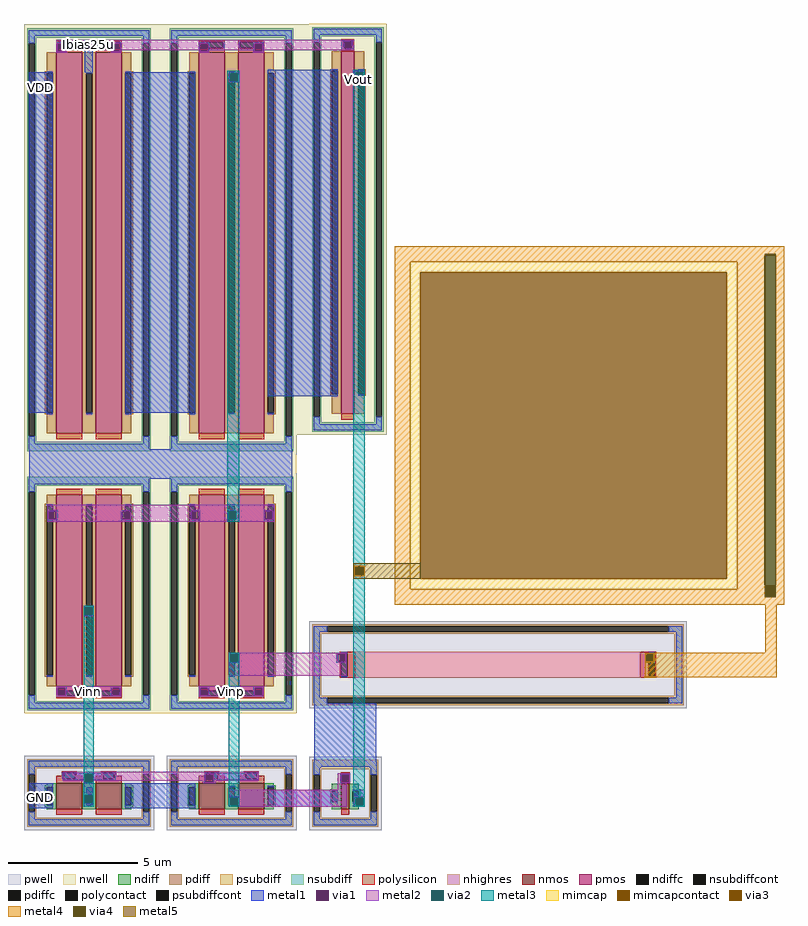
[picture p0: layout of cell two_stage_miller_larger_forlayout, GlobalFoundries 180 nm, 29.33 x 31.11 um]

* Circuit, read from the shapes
.subckt two_stage_miller_larger_forlayout Vout Vinn Vinp Ibias25u VDD GND
XM1 n1 n1 GND GND nfet_03v3 w=1u l=1u m=2
XM2 n2 n1 GND GND nfet_03v3 w=1u l=1u m=2
XM3 Vout n2 GND GND nfet_03v3 w=0.97u l=0.3u
XM4 n1 Vinn n3 VDD pfet_03v3 w=7.4u l=1u m=2
XM5 Ibias25u Ibias25u VDD VDD pfet_03v3 w=14.7u l=1u m=2
XM6 n2 Vinp n3 VDD pfet_03v3 w=7.4u l=1u m=2
XM7 n3 Ibias25u VDD VDD pfet_03v3 w=14.7u l=1u m=2
XM8 Vout Ibias25u VDD VDD pfet_03v3 w=14u l=0.5u
XC9 Vout n4 cap_mim_2f0fF c_width=12.63u c_length=12.63u
XR10 n4 n2 GND ppolyf_u_1k r_width=1u r_length=11u
.ends

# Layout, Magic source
magic
tech gf180mcuD
magscale 1 10
<< nwell >>
rect -2000 8270 200 8320
rect -1000 5000 -900 8270
rect 100 5150 200 8270
rect -2000 4800 100 5000
rect -1000 3000 -900 4800
<< metal1 >>
rect -1750 8170 -1670 8180
rect -1330 8170 -1250 8180
rect -1750 8110 -1740 8170
rect -1680 8160 -1670 8170
rect -1560 8160 -1440 8170
rect -1330 8160 -1320 8170
rect -1680 8120 -1320 8160
rect -1680 8110 -1670 8120
rect -1750 8100 -1670 8110
rect -1530 7950 -1470 8120
rect -1330 8110 -1320 8120
rect -1260 8110 -1250 8170
rect -1330 8100 -1250 8110
rect -650 8170 -570 8180
rect -650 8110 -640 8170
rect -580 8110 -570 8170
rect -650 8100 -570 8110
rect -230 8170 -150 8180
rect -230 8110 -220 8170
rect -160 8110 -150 8170
rect 450 8130 470 8190
rect 530 8130 550 8190
rect -230 8100 -150 8110
rect -1960 5320 -1780 7950
rect -1220 5320 -680 7950
rect -420 7940 -340 7950
rect -420 7880 -410 7940
rect -350 7880 -340 7940
rect -420 7870 -340 7880
rect -120 5450 420 7970
rect 550 7950 620 7960
rect 550 7890 560 7950
rect 550 7880 620 7890
rect -1960 4810 70 5040
rect -1810 4560 -1740 4570
rect -1750 4500 -1740 4560
rect -1810 4490 -1740 4500
rect -1250 4560 -1180 4570
rect -1250 4500 -1240 4560
rect -1250 4490 -1180 4500
rect -710 4560 -640 4570
rect -650 4500 -640 4560
rect -710 4490 -640 4500
rect -150 4560 -80 4570
rect -150 4500 -140 4560
rect -150 4490 -80 4500
rect -1540 3820 -1460 3830
rect -1540 3760 -1530 3820
rect -1470 3760 -1460 3820
rect -1540 3750 -1460 3760
rect -420 3460 -340 3470
rect -420 3400 -410 3460
rect -350 3400 -340 3460
rect -420 3390 -340 3400
rect 410 3460 490 3470
rect 410 3400 420 3460
rect 480 3400 490 3460
rect 410 3390 490 3400
rect 2790 3460 2870 3470
rect 2790 3400 2800 3460
rect 2860 3400 2870 3460
rect 2790 3390 2870 3400
rect 50 3220 60 3250
rect -1750 3200 -1670 3210
rect -1750 3140 -1740 3200
rect -1680 3140 -1670 3200
rect -1750 3130 -1670 3140
rect -1330 3200 -1250 3210
rect -1330 3140 -1320 3200
rect -1260 3140 -1250 3200
rect -1330 3130 -1250 3140
rect -650 3200 -570 3210
rect -650 3140 -640 3200
rect -580 3140 -570 3200
rect -650 3130 -570 3140
rect -230 3200 -150 3210
rect -230 3140 -220 3200
rect -160 3140 -150 3200
rect -230 3130 -150 3140
rect 240 2630 720 3080
rect -1700 2530 -1290 2540
rect -1700 2490 -1530 2530
rect -1540 2470 -1530 2490
rect -1470 2490 -1290 2530
rect -610 2530 -190 2540
rect -1470 2470 -1460 2490
rect -1960 2270 -1780 2460
rect -1540 2370 -1460 2470
rect -610 2470 -600 2530
rect -540 2490 -190 2530
rect 440 2530 520 2540
rect -540 2470 -530 2490
rect -610 2460 -530 2470
rect 440 2470 450 2530
rect 510 2470 520 2530
rect 440 2460 520 2470
rect -1540 2310 -1530 2370
rect -1470 2310 -1460 2370
rect -1540 2280 -1460 2310
rect -1220 2270 -680 2460
rect -420 2350 -340 2360
rect -420 2290 -410 2350
rect -350 2290 -340 2350
rect -420 2280 -340 2290
rect -110 2280 420 2410
rect 540 2350 630 2410
rect 540 2290 560 2350
rect 620 2290 630 2350
rect 540 2280 630 2290
<< via1 >>
rect -1740 8110 -1680 8170
rect -1320 8110 -1260 8170
rect -640 8110 -580 8170
rect -220 8110 -160 8170
rect 470 8130 530 8190
rect -410 7880 -350 7940
rect 560 7890 620 7950
rect -1810 4500 -1750 4560
rect -1240 4500 -1180 4560
rect -710 4500 -650 4560
rect -140 4500 -80 4560
rect -1530 3760 -1470 3820
rect -410 3400 -350 3460
rect 420 3400 480 3460
rect 2800 3400 2860 3460
rect -1740 3140 -1680 3200
rect -1320 3140 -1260 3200
rect -640 3140 -580 3200
rect -220 3140 -160 3200
rect -1530 2470 -1470 2530
rect -600 2470 -540 2530
rect 450 2470 510 2530
rect -1530 2310 -1470 2370
rect -410 2290 -350 2350
rect 560 2290 620 2350
<< metal2 >>
rect -1750 8190 550 8200
rect -1750 8170 470 8190
rect -1750 8110 -1740 8170
rect -1680 8120 -1320 8170
rect -1680 8110 -1670 8120
rect -1750 8100 -1670 8110
rect -1330 8110 -1320 8120
rect -1260 8120 -640 8170
rect -1260 8110 -1250 8120
rect -1330 8100 -1250 8110
rect -650 8110 -640 8120
rect -580 8120 -220 8170
rect -580 8110 -570 8120
rect -650 8100 -570 8110
rect -230 8110 -220 8120
rect -160 8130 470 8170
rect 530 8130 550 8190
rect -160 8120 550 8130
rect -160 8110 -150 8120
rect -230 8100 -150 8110
rect 550 7950 630 7960
rect -420 7940 -340 7950
rect -420 7880 -410 7940
rect -350 7880 -340 7940
rect 550 7890 560 7950
rect 620 7890 630 7950
rect 550 7880 630 7890
rect -420 7870 -340 7880
rect -1820 4560 -70 4610
rect -1820 4500 -1810 4560
rect -1750 4500 -1240 4560
rect -1180 4500 -710 4560
rect -650 4500 -420 4560
rect -360 4500 -140 4560
rect -80 4500 -70 4560
rect -1820 4480 -70 4500
rect -1540 3820 -1460 3830
rect -1540 3760 -1530 3820
rect -1470 3760 -1460 3820
rect -1540 3750 -1460 3760
rect -420 3460 490 3470
rect -420 3400 -410 3460
rect -350 3400 420 3460
rect 480 3400 490 3460
rect -420 3290 490 3400
rect 2790 3460 2870 3470
rect 2790 3400 2800 3460
rect 2860 3400 2870 3460
rect 2790 3390 2870 3400
rect -1750 3200 -1250 3210
rect -1750 3140 -1740 3200
rect -1680 3140 -1320 3200
rect -1260 3140 -1250 3200
rect -1750 3130 -1250 3140
rect -650 3200 -150 3210
rect -650 3140 -640 3200
rect -580 3140 -220 3200
rect -160 3140 -150 3200
rect -650 3130 -150 3140
rect -1700 2530 -190 2550
rect -1700 2480 -1530 2530
rect -1540 2470 -1530 2480
rect -1470 2480 -600 2530
rect -1470 2470 -1460 2480
rect -1540 2370 -1460 2470
rect -620 2470 -600 2480
rect -540 2480 -190 2530
rect 420 2530 520 2540
rect -540 2470 -520 2480
rect -620 2460 -520 2470
rect 420 2470 450 2530
rect 510 2470 520 2530
rect 420 2460 520 2470
rect 420 2410 490 2460
rect -1540 2310 -1530 2370
rect -1470 2310 -1460 2370
rect -1540 2280 -1460 2310
rect -420 2350 490 2410
rect -420 2290 -410 2350
rect -350 2290 490 2350
rect -420 2280 490 2290
rect 550 2350 630 2360
rect 550 2290 560 2350
rect 620 2290 630 2350
rect 550 2280 630 2290
<< via2 >>
rect -410 7880 -350 7940
rect 560 7890 620 7950
rect -420 4500 -360 4560
rect -1530 3760 -1470 3820
rect -410 3400 -350 3460
rect 2800 3400 2860 3460
rect -1530 2470 -1470 2530
rect -1530 2310 -1470 2370
rect -410 2290 -350 2350
rect 560 2290 620 2350
<< metal3 >>
rect -430 7940 -340 7960
rect -430 7880 -410 7940
rect -350 7880 -340 7940
rect -430 4560 -340 7880
rect -430 4500 -420 4560
rect -360 4500 -340 4560
rect -430 4480 -340 4500
rect 540 7950 630 7970
rect 540 7890 560 7950
rect 620 7890 630 7950
rect 540 4130 630 7890
rect 540 4070 560 4130
rect 620 4070 630 4130
rect -1540 3820 -1460 3830
rect -1540 3760 -1530 3820
rect -1470 3760 -1460 3820
rect -1540 2530 -1460 3760
rect -1540 2470 -1530 2530
rect -1470 2470 -1460 2530
rect -1540 2370 -1460 2470
rect -1540 2310 -1530 2370
rect -1470 2310 -1460 2370
rect -1540 2280 -1460 2310
rect -420 3460 -340 3470
rect -420 3400 -410 3460
rect -350 3400 -340 3460
rect -420 2350 -340 3400
rect -420 2290 -410 2350
rect -350 2290 -340 2350
rect -420 2280 -340 2290
rect 540 2350 630 4070
rect 2790 3460 2870 3470
rect 2790 3400 2800 3460
rect 2860 3400 2870 3460
rect 2790 3390 2870 3400
rect 540 2290 560 2350
rect 620 2290 630 2350
rect 540 2280 630 2290
<< via3 >>
rect 560 4070 620 4130
rect 2800 3400 2860 3460
<< metal4 >>
rect 550 4130 630 4140
rect 550 4070 560 4130
rect 620 4070 630 4130
rect 550 4060 630 4070
rect 3720 3470 3810 3990
rect 2790 3460 3810 3470
rect 2790 3400 2800 3460
rect 2860 3400 3810 3460
rect 2790 3280 3810 3400
<< via4 >>
rect 560 4070 620 4130
<< metal5 >>
rect 540 4130 1060 4160
rect 540 4070 560 4130
rect 620 4070 1060 4130
rect 540 4040 1060 4070
use cap_mim_2p0fF_LH4DUQ  cap_mim_2p0fF_LH4DUQ_0
transform 1 0 2363 0 1 5223
box -1503 -1383 1503 1383
use nfet_03v3_YZC56H  nfet_03v3_YZC56H_0
transform 1 0 -398 0 1 2386
box -502 -286 502 286
use nfet_03v3_YZC56H  nfet_03v3_YZC56H_1
transform 1 0 -1498 0 1 2386
box -502 -286 502 286
use pfet_03v3_3RQSA8  pfet_03v3_3RQSA8_0
transform 1 0 -1498 0 1 6656
box -502 -1656 502 1656
use pfet_03v3_3RQSA8  pfet_03v3_3RQSA8_1
transform 1 0 -398 0 1 6656
box -502 -1656 502 1656
use pfet_03v3_E22R92  pfet_03v3_E22R92_0
transform 1 0 -398 0 1 3926
box -502 -926 502 926
use pfet_03v3_E22R92  pfet_03v3_E22R92_1
transform 1 0 -1498 0 1 3926
box -502 -926 502 926
use ppolyf_u_1k_4ZCDXZ  ppolyf_u_1k_4ZCDXZ_0
transform 0 1 1658 -1 0 3376
box -336 -1458 336 1458
use pfet_03v3_MLZXNU  XM6
transform 1 0 500 0 1 6736
box -300 -1586 300 1586
use nfet_03v3_FPEKWK  XM7
transform 1 0 480 0 1 2383
box -280 -283 280 283
<< labels >>
rlabel metal3 550 7830 620 7960 1 Vout
port 3 n
rlabel metal2 -1740 3140 -1260 3200 1 Vinn
port 4 n
rlabel metal2 -640 3140 -160 3200 1 Vinp
port 5 n
rlabel metal2 -1740 8130 -1260 8190 1 Ibias25u
port 6 n
rlabel space -1940 8240 -1680 8260 1 VDD
rlabel metal1 -1890 7760 -1860 7910 1 VDD
port 9 n
rlabel metal1 -1890 2290 -1850 2420 1 GND
port 10 n
<< end >>

# cell cap_mim_2p0fF_LH4DUQ: kit device cap_mim_2p0fF, w 12.63 l 12.63 val 4.999k carea 25.00 cperi 20.00 class capacitor nx 1 ny 1 dummy 0 square 1 lmin 5.00 wmin 5.00 lmax 100.0 wmax 100.0 dc 0 bconnect 1 tconnect 1

# cell nfet_03v3_YZC56H: kit device nfet_03v3, w 1 l 1 m 1 nf 2 diffcov 80 polycov 50 guard 1 glc 1 grc 1 gtc 0 gbc 0 tbcov 100 rlcov 100 topc 1 botc 0 poverlap 0 doverlap 1 lmin 0.28 wmin 0.22 class mosfet full_metal 1 compatible {nfet_03v3 nfet_05v0 nfet_06v0 nfet_06v0_nvt}

# cell pfet_03v3_3RQSA8: kit device pfet_03v3, w 14.7 l 1 m 1 nf 2 diffcov 90 polycov 100 guard 1 glc 1 grc 1 gtc 0 gbc 0 tbcov 100 rlcov 100 topc 1 botc 0 poverlap 0 doverlap 1 lmin 0.28 wmin 0.22 class mosfet full_metal 1 compatible {pfet_03v3 pfet_05v0 pfet_06v0}

# cell pfet_03v3_E22R92: kit device pfet_03v3, w 7.4 l 1 m 1 nf 2 diffcov 90 polycov 100 guard 1 glc 1 grc 1 gtc 0 gbc 0 tbcov 100 rlcov 100 topc 0 botc 1 poverlap 0 doverlap 1 lmin 0.28 wmin 0.22 class mosfet full_metal 1 compatible {pfet_03v3 pfet_05v0 pfet_06v0}

# cell ppolyf_u_1k_4ZCDXZ: kit device ppolyf_u_1k, w 1.0 l 11.0 m 1 nx 1 wmin 1.000 lmin 1.000 class resistor rho 1000 val 11.0k dummy 0 dw 0.0 term 0.0 sterm 0.0 caplen 0.4 snake 1 glc 1 grc 1 gtc 0 gbc 0 roverlap 0 endcov 100 full_metal 1 compatible {ppolyf_u_1k ppolyf_u_1k_6p0}

# cell pfet_03v3_MLZXNU: kit device pfet_03v3, w 14.0 l 0.5 m 1 nf 1 diffcov 90 polycov 100 guard 1 glc 1 grc 1 gtc 0 gbc 0 tbcov 100 rlcov 100 topc 1 botc 0 poverlap 0 doverlap 1 lmin 0.28 wmin 0.22 class mosfet full_metal 1 compatible {pfet_03v3 pfet_05v0 pfet_06v0}

# cell nfet_03v3_FPEKWK: kit device nfet_03v3, w 0.97 l 0.3 m 1 nf 1 diffcov 50 polycov 100 guard 1 glc 1 grc 1 gtc 0 gbc 0 tbcov 100 rlcov 100 topc 1 botc 0 poverlap 0 doverlap 1 lmin 0.28 wmin 0.22 class mosfet full_metal 1 compatible {nfet_03v3 nfet_05v0 nfet_06v0 nfet_06v0_nvt}
